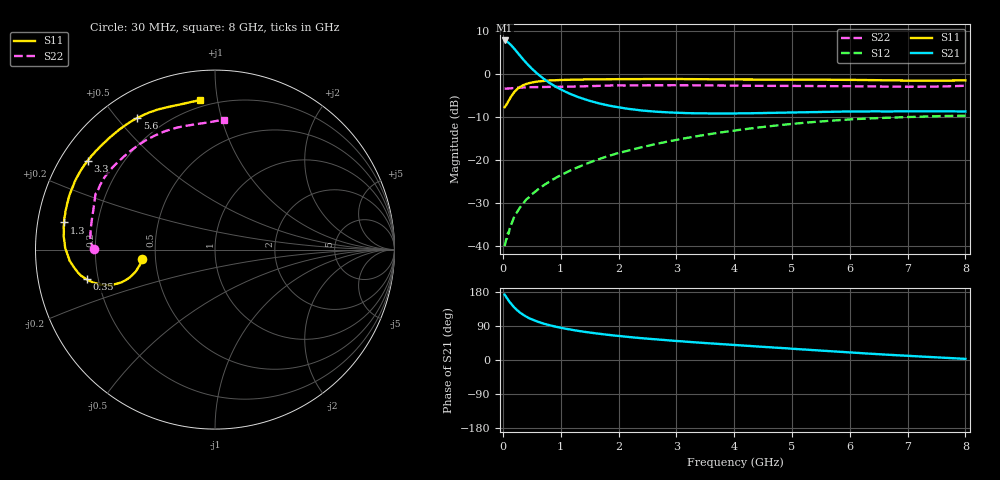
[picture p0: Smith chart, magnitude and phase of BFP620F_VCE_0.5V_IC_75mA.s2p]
! Infineon Technologies  Discrete & RF Semiconductors
! BFP620F
! VCE =  0.5 V,  IC =  75 mA
! Common Emitter S-Parameters:  Dec 2014
# GHz  S  MA  R  50
!  f  S11  S21  S12  S22
! GHz  MAG  ANG  MAG  ANG  MAG  ANG  MAG  ANG
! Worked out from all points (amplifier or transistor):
!   95 points, 30 MHz to 8 GHz, reference 50 ohm
!   highest |S21| = 7.7 dB at 30 MHz (marker M1)
!   |S21| within 3 dB of that: start of sweep to 264.4 MHz
!   unconditionally stable (mu >= 1): start of sweep to end of sweep
!   at 300 MHz: K = 3.38, MAG = 9.3 dB, |S12| = -30.9 dB
!   at 3.3 GHz: K = 1.55, MAG = -1.6 dB, |S12| = -14.6 dB
!   at 8 GHz: K = 1.26, MAG = -2.6 dB, |S12| = -9.7 dB
!   S11 on the Smith chart (normalised r, x): 30 MHz: 0.42, -0.05; 350 MHz: 0.15, -0.11; 1.3 GHz: 0.08, +0.09; 3.3 GHz: 0.08, +0.31; 5.6 GHz: 0.11, +0.57; 8 GHz: 0.16, +0.89
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0.03  0.4092 -172.8  2.431 172.6  0.01 13.8  0.6727 179.7
0.08  0.459 -164.5  2.335 161.1  0.0135 36.5  0.6738 179.6
0.11  0.4989 -162.0  2.248 154.7  0.015 42.8  0.6762 179.5
0.15  0.5538 -160.7  2.117 147.0  0.0182 47.4  0.6787 179.1
0.2  0.6153 -161.1  1.94 138.3  0.0223 49.7  0.6828 178.5
0.25  0.6653 -162.9  1.768 131.0  0.0251 52.8  0.6871 177.8
0.3  0.7044 -164.9  1.61 124.7  0.0284 53.8  0.6905 177.0
0.35  0.7347 -167.0  1.468 119.4  0.0312 54.9  0.6926 176.2
0.4  0.7593 -168.9  1.347 114.8  0.0345 56.1  0.6954 175.4
0.5  0.7902 -172.6  1.147 107.2  0.0398 57.5  0.698 173.8
0.7  0.8236 -178.4  0.879 96.2  0.0505 59.8  0.7017 170.7
1  0.8463 175.1  0.659 85.1  0.0665 61.1  0.7062 166.4
1.3  0.8534 169.8  0.537 77.0  0.0825 61.0  0.7118 162.4
1.4  0.8572 168.3  0.51 74.6  0.0879 60.7  0.7147 161.2
1.9  0.8634 161.4  0.419 65.1  0.115 58.7  0.7314 155.9
2.7  0.8682 151.9  0.361 53.9  0.1557 53.2  0.7348 149.3
3.3  0.8652 145.1  0.348 46.9  0.1858 48.4  0.7337 144.1
4.1  0.8577 136.1  0.347 38.7  0.2236 41.3  0.7264 136.0
5.4  0.8532 122.5  0.359 25.8  0.2763 28.9  0.7197 120.4
5.6  0.8516 120.6  0.361 23.9  0.2827 26.9  0.7186 118.0
6.7  0.8371 108.9  0.365 13.6  0.3093 16.3  0.7088 104.0
8  0.838 95.9  0.365 2.9  0.3258 5.2  0.7253 86.2
